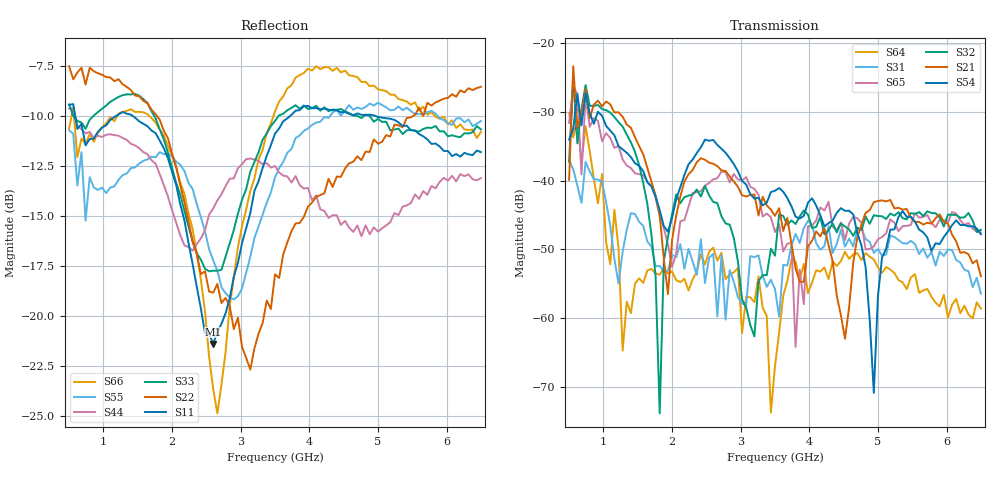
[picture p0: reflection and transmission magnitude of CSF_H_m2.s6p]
!Keysight Technologies,M9804A,MY58100912,A.14.10.03
!Date: Thursday, April 27, 2023 10:28:33
!Correction: S11(C  6-Port  )
!S12(C  6-Port  )
!S13(C  6-Port  )
!S14(C  6-Port  )
!S15(C  6-Port  )
!S16(C  6-Port  )
!S21(C  6-Port  )
!S22(C  6-Port  )
!S23(C  6-Port  )
!S24(C  6-Port  )
!S25(C  6-Port  )
!S26(C  6-Port  )
!S31(C  6-Port  )
!S32(C  6-Port  )
!S33(C  6-Port  )
!S34(C  6-Port  )
!S35(C  6-Port  )
!S36(C  6-Port  )
!S41(C  6-Port  )
!S42(C  6-Port  )
!S43(C  6-Port  )
!S44(C  6-Port  )
!S45(C  6-Port  )
!S46(C  6-Port  )
!S51(C  6-Port  )
!S52(C  6-Port  )
!S53(C  6-Port  )
!S54(C  6-Port  )
!S55(C  6-Port  )
!S56(C  6-Port  )
!S61(C  6-Port  )
!S62(C  6-Port  )
!S63(C  6-Port  )
!S64(C  6-Port  )
!S65(C  6-Port  )
!S66(C  6-Port  )
!S6P File: Measurement: :
# Hz S  RI  R 50
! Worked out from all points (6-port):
!   101 points, 500 MHz to 6.5 GHz, reference 50 ohm
!   strongest paths, dB at 500 MHz, 2 GHz, 3.5 GHz, 5 GHz, 6.5 GHz:
!     S54: -34.0, -45.4, -41.5, -56.8, -47.8
!     S21: -39.9, -48.6, -45.1, -43.0, -53.9
!     S32: -37.2, -44.9, -50.9, -45.1, -47.1
!     S65: -31.6, -52.5, -47.5, -48.5, -47.5
!     S31: -37.1, -50.8, -55.8, -49.9, -56.4
!     S64: -30.2, -53.2, -66.9, -52.6, -58.6
!   lowest |S11| = -21.4 dB at 2.6 GHz (marker M1), VSWR 1.19, Z = 42.4 + j2.17 ohm
!   |S11| at or under -10 dB: 589.6 MHz to 1.175 GHz (585.9 MHz wide, 66.4 % of centre); 1.435 GHz to 3.714 GHz (2.279 GHz wide, 88.5 % of centre); 4.977 GHz to end of sweep
